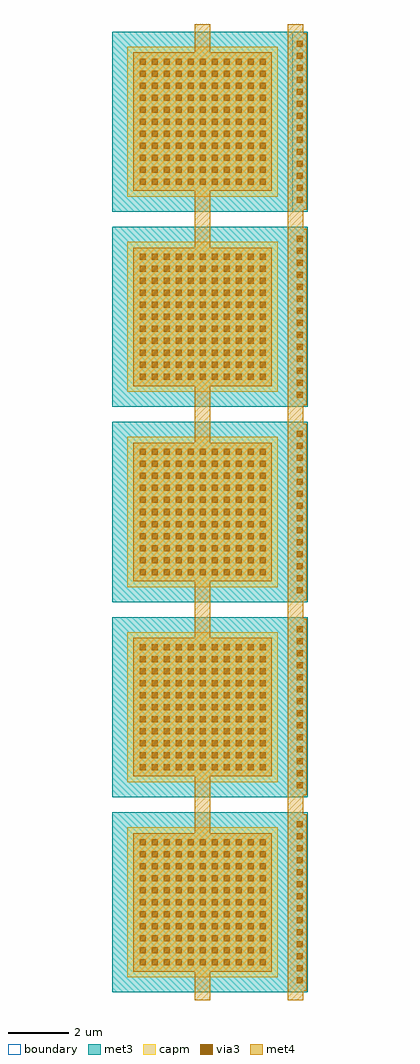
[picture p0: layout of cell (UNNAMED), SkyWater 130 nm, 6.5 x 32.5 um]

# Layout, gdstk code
import gdstk
lib = gdstk.Library(unit=1e-6, precision=1e-09)
def R(c, l, rs):  # rectangles x0, y0, x1, y1
    for r in rs: c.add(gdstk.rectangle(r[:2], r[2:], *l))
def A(c, l, x, y, w, h, nx, ny, dx, dy):  # array of equal rectangles
    R(c, l, [(x+i*dx, y+j*dy, x+i*dx+w, y+j*dy+h) for i in range(nx) for j in range(ny)])
met3 = (70, 20)
via3 = (70, 44)
met4 = (71, 20)
capm = (89, 44)
boundary = (235, 4)

sky130_fd_pr__cap_mim_m3 = lib.new_cell('sky130_fd_pr__cap_mim_m3_1_HH6M9H')
A(sky130_fd_pr__cap_mim_m3, met3, -3.25, -16, 6.495, 6, 1, 5, 0, 6.5)
A(sky130_fd_pr__cap_mim_m3, via3, 2.885, -15.7, 0.2, 0.2, 1, 14, 0, 0.4)
A(sky130_fd_pr__cap_mim_m3, via3, -2.35, -15.1, 0.2, 0.2, 11, 11, 0.4, 0.4)
A(sky130_fd_pr__cap_mim_m3, via3, 2.885, -9.2, 0.2, 0.2, 1, 14, 0, 0.4)
A(sky130_fd_pr__cap_mim_m3, via3, -2.35, -8.6, 0.2, 0.2, 11, 11, 0.4, 0.4)
A(sky130_fd_pr__cap_mim_m3, via3, 2.885, -2.7, 0.2, 0.2, 1, 14, 0, 0.4)
A(sky130_fd_pr__cap_mim_m3, via3, -2.35, -2.1, 0.2, 0.2, 11, 11, 0.4, 0.4)
A(sky130_fd_pr__cap_mim_m3, via3, 2.885, 3.8, 0.2, 0.2, 1, 14, 0, 0.4)
A(sky130_fd_pr__cap_mim_m3, via3, -2.35, 4.4, 0.2, 0.2, 11, 11, 0.4, 0.4)
A(sky130_fd_pr__cap_mim_m3, via3, 2.885, 10.3, 0.2, 0.2, 1, 14, 0, 0.4)
A(sky130_fd_pr__cap_mim_m3, via3, -2.35, 10.9, 0.2, 0.2, 11, 11, 0.4, 0.4)
A(sky130_fd_pr__cap_mim_m3, met4, 2.59, -15.94, 0.635, 5.88, 1, 5, 0, 6.5)
A(sky130_fd_pr__cap_mim_m3, met4, -2.555, -15.305, 4.61, 4.61, 1, 5, 0, 6.5)
A(sky130_fd_pr__cap_mim_m3, met4, -0.51, -10.695, 0.52, 1.89, 1, 4, 0, 6.5)
A(sky130_fd_pr__cap_mim_m3, met4, 2.59, -10.06, 0.52, 0.62, 1, 4, 0, 6.5)
R(sky130_fd_pr__cap_mim_m3, met4, [(-0.51,-16.25,0.01,-15.305), (2.59,-16.25,3.11,-15.94), (-0.51,15.305,0.01,16.25), (2.59,15.94,3.11,16.25)])
A(sky130_fd_pr__cap_mim_m3, capm, -2.75, -15.5, 5, 5, 1, 5, 0, 6.5)
R(sky130_fd_pr__cap_mim_m3, boundary, [(-3.25,10,2.75,16)])

c_sky130_fd_pr__cap_mim_m3 = lib.new_cell('sky130_fd_pr__cap_mim_m3_1_VCAG9J')
R(c_sky130_fd_pr__cap_mim_m3, met3, [(-3.25,-3,3.245,3)])
A(c_sky130_fd_pr__cap_mim_m3, via3, 2.885, -2.7, 0.2, 0.2, 1, 14, 0, 0.4)
A(c_sky130_fd_pr__cap_mim_m3, via3, -2.35, -2.1, 0.2, 0.2, 11, 11, 0.4, 0.4)
R(c_sky130_fd_pr__cap_mim_m3, met4, [(2.745,-2.94,3.225,2.94), (-2.555,-2.305,2.055,2.305)])
R(c_sky130_fd_pr__cap_mim_m3, capm, [(-2.75,-2.5,2.25,2.5)])
R(c_sky130_fd_pr__cap_mim_m3, boundary, [(-3.25,-3,2.75,3)])

c__unnamed_ = lib.new_cell('(UNNAMED)')
c__unnamed_.add(gdstk.Reference(sky130_fd_pr__cap_mim_m3, (3.25,-10)))
c__unnamed_.add(gdstk.Reference(c_sky130_fd_pr__cap_mim_m3, (3.25,3)))

lib.write_gds('_UNNAMED_.gds')
